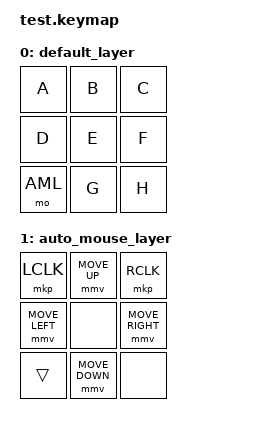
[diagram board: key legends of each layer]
/*
 * Test keymap for zmk-trackball-threshold module
 */

#include <dt-bindings/zmk/keys.h>
#include <dt-bindings/zmk/pointing.h>

// Include test configuration
#include "test.dtsi"

#define DEFAULT 0
#define AML 1

/ {
    keymap {
        compatible = "zmk,keymap";

        default_layer {
            bindings = <
                &kp A    &kp B    &kp C
                &kp D    &kp E    &kp F
                &mo AML  &kp G    &kp H
            >;
        };

        auto_mouse_layer {
            bindings = <
                &mkp LCLK    &mmv MOVE_UP     &mkp RCLK
                &mmv MOVE_LEFT &none          &mmv MOVE_RIGHT
                &trans       &mmv MOVE_DOWN   &none
            >;
        };
    };
};

// Test input processor configuration
/ {
    // Temporary layer processor for AML
    zip_temp_layer: zip_temp_layer {
        compatible = "zmk,input-processor-temp-layer";
        #input-processor-cells = <2>;
        require-prior-idle-ms = <150>;
    };
};

// Test trackball listener with threshold processor
/ {
    test_trackball_listener {
        compatible = "zmk,input-listener";
        // device = <&test_trackball>; // Would reference actual trackball device
        
        // Test with threshold processor first, then temp layer
        input-processors = <&zip_trackball_threshold>, <&zip_temp_layer AML 30000>;
    };
}; 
